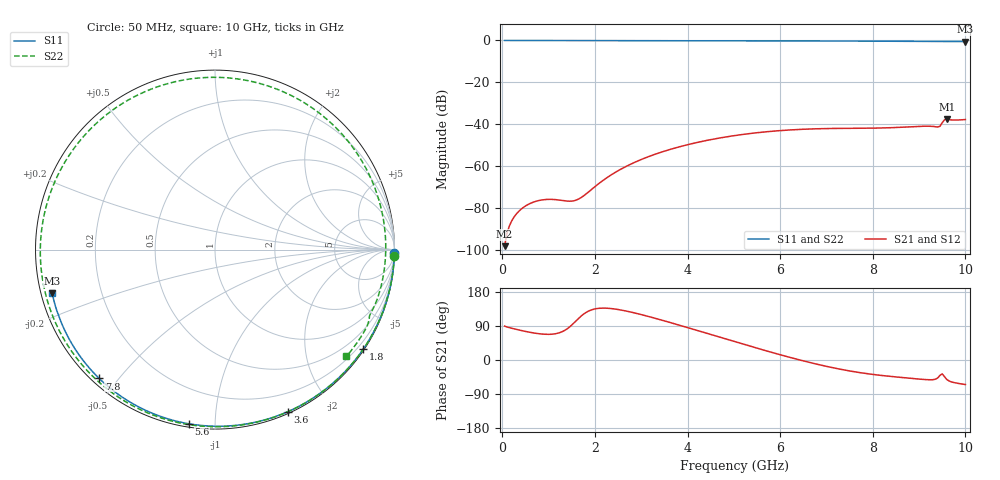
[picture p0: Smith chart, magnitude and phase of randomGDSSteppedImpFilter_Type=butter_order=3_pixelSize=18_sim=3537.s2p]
! freq	dB(S11)	phase(S11)	dB(S12)	phase(S12)
!  dB(S21)	phase(S21)	dB(S22)	phase(S22)
!S-par simulation data
#  GHz  S  DB  R 50
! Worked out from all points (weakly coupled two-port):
!   200 points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, 50 MHz to 10 GHz, reference 50 ohm
!   highest |S21| = -37.65 dB at 9.6 GHz (marker M1); lowest = -98.0 dB at 50 MHz (marker M2)
!   lowest |S11| = -0.5 dB at 10 GHz (marker M3), VSWR 31.89, Z = 1.6 - j6.57 ohm
!   |S11| at or under -10 dB: nowhere
!   |S22| runs from -0.6 to 0.0 dB; largest |S21 - S12| = 0
!   S11 on the Smith chart (normalised r, x): 50 MHz: open; 1.8 GHz: 0.03, -3.28; 3.6 GHz: 0.02, -1.54; 5.6 GHz: 0.02, -0.86; 7.8 GHz: 0.02, -0.45; 10 GHz: 0.03, -0.13
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0.05  -0.00 -1.0  -98.02 89.4  -98.02 89.4  -0.00 -2.2
0.4  -0.01 -7.6  -80.51 78.1  -80.51 78.1  -0.02 -17.2
0.8  -0.02 -15.2  -76.22 69.2  -76.22 69.2  -0.04 -34.2
1.5  -0.04 -28.3  -76.55 92.3  -76.55 92.3  -0.08 -63.4
1.75  -0.04 -33.0  -74.14 120.6  -74.14 120.6  -0.09 -73.6
1.8  -0.04 -33.9  -73.29 124.9  -73.29 124.9  -0.10 -75.7
2.55  -0.06 -47.5  -61.45 132.2  -61.45 132.2  -0.13 -105.6
3.4  -0.08 -62.4  -53.46 106.7  -53.46 106.7  -0.17 -138.7
3.6  -0.09 -65.9  -52.07 99.8  -52.07 99.8  -0.18 -146.5
4.35  -0.11 -78.5  -47.92 72.8  -47.92 72.8  -0.23 -175.8
5.05  -0.14 -89.9  -45.22 47.3  -45.22 47.3  -0.27 155.9
5.6  -0.16 -98.6  -43.73 27.6  -43.73 27.6  -0.31 133.0
6.15  -0.19 -107.1  -42.72 8.9  -42.72 8.9  -0.34 109.5
6.7  -0.23 -115.5  -42.14 -8.3  -42.14 -8.3  -0.36 85.7
7.2  -0.26 -123.0  -41.91 -22.0  -41.91 -22.0  -0.37 64.1
7.8  -0.31 -132.0  -41.82 -34.7  -41.82 -34.7  -0.39 38.9
8.35  -0.36 -140.1  -41.60 -42.9  -41.60 -42.9  -0.41 16.9
8.85  -0.41 -147.6  -41.11 -48.7  -41.11 -48.7  -0.44 -1.8
9.4  -0.48 -155.8  -41.23 -47.7  -41.23 -47.7  -0.54 -20.6
9.55  -0.49 -158.1  -37.78 -44.4  -37.78 -44.4  -0.50 -24.7
9.6  -0.49 -158.8  -37.65 -51.6  -37.65 -51.6  -0.46 -26.5
10  -0.54 -165.0  -37.69 -64.8  -37.69 -64.8  -0.51 -39.1
